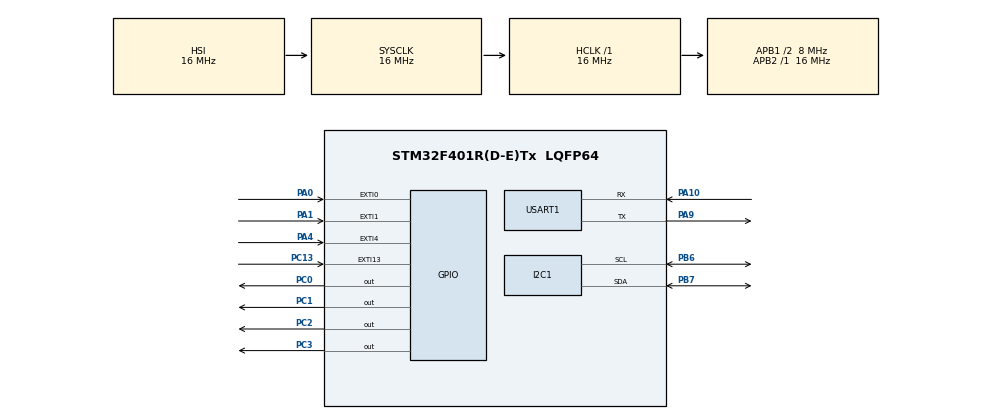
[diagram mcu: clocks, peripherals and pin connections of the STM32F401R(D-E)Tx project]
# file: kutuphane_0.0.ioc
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I2C1.I2C_Mode=I2C_Fast
Mcu.Family=STM32F4
Mcu.Name=STM32F401R(D-E)Tx
Mcu.Package=LQFP64
NVIC.EXTI0_IRQn=true\:0\:0\:false\:false\:true\:true\:true\:true
NVIC.EXTI1_IRQn=true\:0\:0\:false\:false\:true\:true\:true\:true
NVIC.EXTI4_IRQn=true\:0\:0\:false\:false\:true\:true\:true\:true
NVIC.PriorityGroup=NVIC_PRIORITYGROUP_4
PA0-WKUP.Signal=GPXTI0
PA1.Signal=GPXTI1
PA10.Mode=Asynchronous
PA10.Signal=USART1_RX
PA13.Mode=Serial_Wire
PA13.Signal=SYS_JTMS-SWDIO
PA14.Mode=Serial_Wire
PA14.Signal=SYS_JTCK-SWCLK
PA4.Signal=GPXTI4
PA9.Mode=Asynchronous
PA9.Signal=USART1_TX
PB6.Mode=I2C
PB6.Signal=I2C1_SCL
PB7.Mode=I2C
PB7.Signal=I2C1_SDA
PC0.Signal=GPIO_Output
PC1.Signal=GPIO_Output
PC13-ANTI_TAMP.Signal=GPXTI13
PC14-OSC32_IN.Mode=LSE-External-Clock-Source
PC14-OSC32_IN.Signal=RCC_OSC32_IN
PC15-OSC32_OUT.Mode=LSE-External-Clock-Source
PC15-OSC32_OUT.Signal=RCC_OSC32_OUT
PC2.Signal=GPIO_Output
PC3.Signal=GPIO_Output
PH0\ -\ OSC_IN.Mode=HSE-External-Oscillator
PH0\ -\ OSC_IN.Signal=RCC_OSC_IN
PH1\ -\ OSC_OUT.Mode=HSE-External-Oscillator
PH1\ -\ OSC_OUT.Signal=RCC_OSC_OUT
ProjectManager.HeapSize=0x200
ProjectManager.StackSize=0x400
ProjectManager.TargetToolchain=MDK-ARM V5.32
RCC.48MHZClocksFreq_Value=26880000
RCC.AHBFreq_Value=16000000
RCC.APB1CLKDivider=RCC_HCLK_DIV2
RCC.APB1Freq_Value=8000000
RCC.APB1TimFreq_Value=16000000
RCC.APB2Freq_Value=16000000
RCC.APB2TimFreq_Value=16000000
RCC.CortexFreq_Value=16000000
RCC.HCLKFreq_Value=16000000
RCC.HSE_VALUE=25000000
RCC.HSI_VALUE=16000000
RCC.LSE_VALUE=32768
RCC.PLLM=25
RCC.PLLN=168
RCC.SYSCLKFreq_VALUE=16000000
RCC.VCOOutputFreq_Value=107520000
USART1.VirtualMode=VM_ASYNC
VP_RTC_VS_RTC_Activate.Mode=RTC_Enabled
VP_TIM2_VS_ClockSourceINT.Mode=Internal
board=custom

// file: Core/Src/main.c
/* USER CODE BEGIN Header */
/**
  ******************************************************************************
  * @file           : main.c
  * @brief          : Main program body
  ******************************************************************************
  * @attention
  *
  * Copyright (c) 2025 STMicroelectronics.
  * All rights reserved.
  *
  * This software is licensed under terms that can be found in the LICENSE file
  * in the root directory of this software component.
  * If no LICENSE file comes with this software, it is provided AS-IS.
  *
  ******************************************************************************
  */
/* USER CODE END Header */
#include "main.h"

/* USER CODE BEGIN Includes */
#include "SSD1306.h"
#include "fonts.h"
#include "ds3231_for_stm32_hal.h"
#include "KeyPad.h"
#include <string.h>
#include <stdio.h>
/* USER CODE END Includes */

I2C_HandleTypeDef hi2c1;

RTC_HandleTypeDef hrtc;

TIM_HandleTypeDef htim2;

UART_HandleTypeDef huart1;

/* USER CODE BEGIN PV */

// �grenci struct'i
typedef struct {
    char id[8];
    char name[16];
    uint8_t inside;
    DS3231_Time_t entry_time;
} Student;

// �grenci listesi (�rnek)
Student students[] = {
    {"1001", "Ali",    0, {0}},
    {"1002", "Ayse",   0, {0}},
    {"1003", "Zeynep", 0, {0}},
};
uint8_t num_students = sizeof(students) / sizeof(students[0]);

// Keypad buffer
char num_buffer[8] = {0};

// LCD'ye ve UART'a yazmak i�in buffer
char text_buffer[32];

// DS3231 zaman yapisi
DS3231_Time_t rtc_time;

// Keypad tusunu tutacak degisken
char key;
uint8_t key_index = 0;
uint8_t keypad_active = 0;

/* USER CODE END PV */

void SystemClock_Config(void);
static void MX_GPIO_Init(void);
static void MX_I2C1_Init(void);
static void MX_TIM2_Init(void);
static void MX_USART1_UART_Init(void);
static void MX_RTC_Init(void);
/* USER CODE BEGIN PFP */
int find_student_index(const char* id);
int calc_duration(DS3231_Time_t start, DS3231_Time_t stop);
void UART_Log(char* str);
uint8_t DS3231_GetTime(I2C_HandleTypeDef *hi2c, DS3231_Time_t *time);
/* USER CODE END PFP */

int main(void)
{

  /* MCU Configuration--------------------------------------------------------*/

  /* Reset of all peripherals, Initializes the Flash interface and the Systick. */
  HAL_Init();

  /* Configure the system clock */
  SystemClock_Config();

  /* Initialize all configured peripherals */
  MX_GPIO_Init();
  MX_I2C1_Init();
  MX_TIM2_Init();
  MX_USART1_UART_Init();
  MX_RTC_Init();
  /* USER CODE BEGIN 2 */

  // SSD1306 OLED ekrani baslat
  SSD1306_Init();

  // DS3231 baslat (I2C1 ile)
  DS3231_Init(&hi2c1);

  // Keypad baslat (kendi k�t�phanende gerekmeyebilir, varsa ekle)
  KeyPad_Init();

  // Hosgeldiniz mesaji
  SSD1306_Fill(SSD1306_COLOR_BLACK);
  SSD1306_GotoXY(0, 0);
  SSD1306_Puts("Kutuphaneye Giris", &Font_7x10, 1);
  SSD1306_GotoXY(0, 20);
  SSD1306_Puts("Numara Giriniz:",&Font_7x10, 1);
  SSD1306_UpdateScreen();

  // UART i�in ilk mesaj
  sprintf(text_buffer, "Sistem Basladi\r\n");
  HAL_UART_Transmit(&huart1, (uint8_t*)text_buffer, strlen(text_buffer), 100);
  /* USER CODE END 2 */

  /* Infinite loop */
  /* USER CODE BEGIN WHILE */
  while (1)
  {
		key = KeyPad_WaitForKeyGetChar(HAL_MAX_DELAY);
		if (key != 0 && key_index < 4) {
			num_buffer[key_index++] = key;

			// Boşluklu gösterim için buffer oluştur
			char spaced_buffer[9] = {0};
			int j = 0;
			for (int i = 0; i < key_index; ++i) {
				spaced_buffer[j++] = num_buffer[i];
				if (i < key_index - 1) spaced_buffer[j++] = ' ';
			}

			SSD1306_GotoXY(0, 40);
			SSD1306_Puts("        ", &Font_11x18, 1);
			SSD1306_GotoXY(0, 40);
			SSD1306_Puts(spaced_buffer, &Font_11x18, 1);
			SSD1306_UpdateScreen();
		}

    if (key_index == 4) {
      num_buffer[4] = '\0';
      int idx = find_student_index(num_buffer);

      if (idx >= 0) {
        // �grenci bulundu, RTC'den saati al
        DS3231_GetTime(&hi2c1, &rtc_time);
				// ——————————————————————————————
				// Düzeltme: 1 saat 3 dakika geri al
				//————————————————————————————————————
				int h = rtc_time.hours;
				int m = rtc_time.minutes;

				// 3 dk geri
				m -= 50;
				if (m < 0) {
						m += 60;
						h -= 1;
				}

				// 1 saat geri
				h -= 7;
				if (h < 0) {
						h += 24;
				}

				// Düzeltmeyi yapılandırıp rtc_time’a geri yaz (isteğe bağlı)
				rtc_time.hours   = (uint8_t)h;
				rtc_time.minutes = (uint8_t)m;
				//———————————————————————————————

				// Ekrana düzeltmiş zamanı yaz
				sprintf(text_buffer, "%s %02d:%02d", students[idx].name, rtc_time.hours, rtc_time.minutes);

        if (students[idx].inside == 0) {
          // Giris islemi
          students[idx].inside = 1;
          students[idx].entry_time = rtc_time;
          SSD1306_Fill(SSD1306_COLOR_BLACK);
          SSD1306_GotoXY(0, 0);
          SSD1306_Puts("GIRIS OK!", &Font_7x10, 1);
          SSD1306_GotoXY(0, 20);
          sprintf(text_buffer, "%s %02d:%02d", students[idx].name, rtc_time.hours, rtc_time.minutes);
          SSD1306_Puts(text_buffer, &Font_7x10, 1);
          SSD1306_UpdateScreen();
          // UART log
          sprintf(text_buffer, "Giris: %s %s %02d:%02d\r\n", students[idx].id, students[idx].name, rtc_time.hours, rtc_time.minutes);
          UART_Log(text_buffer);
        } else {
          // çikis islemi
          students[idx].inside = 0;
          int duration = calc_duration(students[idx].entry_time, rtc_time);
          SSD1306_Fill(SSD1306_COLOR_BLACK);
          SSD1306_GotoXY(0, 0);
          SSD1306_Puts("CIKIS OK!", &Font_11x18, 1);
          SSD1306_GotoXY(0, 20);
          sprintf(text_buffer, "%s %02d dk", students[idx].name, duration);
          SSD1306_Puts(text_buffer, &Font_11x18, 1);
          SSD1306_UpdateScreen();
          // UART log
          sprintf(text_buffer, "Cikis: %s %s, Sure: %d dk\r\n", students[idx].id, students[idx].name, duration);
          UART_Log(text_buffer);
        }
      } else {
        // �grenci yok
        SSD1306_Fill(SSD1306_COLOR_BLACK);
        SSD1306_GotoXY(0, 0);
        SSD1306_Puts("KAYIT YOK!", &Font_11x18, 1);
        SSD1306_UpdateScreen();
        sprintf(text_buffer, "Kullanici bulunamadi: %s\r\n", num_buffer);
        UART_Log(text_buffer);
      }

      key_index = 0;
      memset(num_buffer, 0, sizeof(num_buffer));
      HAL_Delay(2000); // Sonucu ekranda g�ster
      // Ana ekrani geri y�kle
      SSD1306_Fill(SSD1306_COLOR_BLACK);
      SSD1306_GotoXY(0, 0);
      SSD1306_Puts("Kutuphaneye Giris", &Font_7x10, 1);
      SSD1306_GotoXY(0, 20);
      SSD1306_Puts("Numara Giriniz:", &Font_7x10, 1);
      SSD1306_UpdateScreen();
    }
    HAL_Delay(10);
  }

    /* USER CODE END WHILE */

  }

void SystemClock_Config(void)
{
  RCC_OscInitTypeDef RCC_OscInitStruct = {0};
  RCC_ClkInitTypeDef RCC_ClkInitStruct = {0};

  /** Configure the main internal regulator output voltage
  */
  __HAL_RCC_PWR_CLK_ENABLE();
  __HAL_PWR_VOLTAGESCALING_CONFIG(PWR_REGULATOR_VOLTAGE_SCALE2);

  /** Initializes the RCC Oscillators according to the specified parameters
  * in the RCC_OscInitTypeDef structure.
  */
  RCC_OscInitStruct.OscillatorType = RCC_OSCILLATORTYPE_HSI|RCC_OSCILLATORTYPE_LSI;
  RCC_OscInitStruct.HSIState = RCC_HSI_ON;
  RCC_OscInitStruct.HSICalibrationValue = RCC_HSICALIBRATION_DEFAULT;
  RCC_OscInitStruct.LSIState = RCC_LSI_ON;
  RCC_OscInitStruct.PLL.PLLState = RCC_PLL_NONE;
  if (HAL_RCC_OscConfig(&RCC_OscInitStruct) != HAL_OK)
  {
    Error_Handler();
  }

  /** Initializes the CPU, AHB and APB buses clocks
  */
  RCC_ClkInitStruct.ClockType = RCC_CLOCKTYPE_HCLK|RCC_CLOCKTYPE_SYSCLK
                              |RCC_CLOCKTYPE_PCLK1|RCC_CLOCKTYPE_PCLK2;
  RCC_ClkInitStruct.SYSCLKSource = RCC_SYSCLKSOURCE_HSI;
  RCC_ClkInitStruct.AHBCLKDivider = RCC_SYSCLK_DIV1;
  RCC_ClkInitStruct.APB1CLKDivider = RCC_HCLK_DIV2;
  RCC_ClkInitStruct.APB2CLKDivider = RCC_HCLK_DIV1;

  if (HAL_RCC_ClockConfig(&RCC_ClkInitStruct, FLASH_LATENCY_0) != HAL_OK)
  {
    Error_Handler();
  }
}

static void MX_I2C1_Init(void)
{

  hi2c1.Instance = I2C1;
  hi2c1.Init.ClockSpeed = 400000;
  hi2c1.Init.DutyCycle = I2C_DUTYCYCLE_2;
  hi2c1.Init.OwnAddress1 = 0;
  hi2c1.Init.AddressingMode = I2C_ADDRESSINGMODE_7BIT;
  hi2c1.Init.DualAddressMode = I2C_DUALADDRESS_DISABLE;
  hi2c1.Init.OwnAddress2 = 0;
  hi2c1.Init.GeneralCallMode = I2C_GENERALCALL_DISABLE;
  hi2c1.Init.NoStretchMode = I2C_NOSTRETCH_DISABLE;
  if (HAL_I2C_Init(&hi2c1) != HAL_OK)
  {
    Error_Handler();
  }

}

static void MX_RTC_Init(void)
{

  /** Initialize RTC Only
  */
  hrtc.Instance = RTC;
  hrtc.Init.HourFormat = RTC_HOURFORMAT_24;
  hrtc.Init.AsynchPrediv = 127;
  hrtc.Init.SynchPrediv = 255;
  hrtc.Init.OutPut = RTC_OUTPUT_DISABLE;
  hrtc.Init.OutPutPolarity = RTC_OUTPUT_POLARITY_HIGH;
  hrtc.Init.OutPutType = RTC_OUTPUT_TYPE_OPENDRAIN;
  if (HAL_RTC_Init(&hrtc) != HAL_OK)
  {
    Error_Handler();
  }

}

static void MX_TIM2_Init(void)
{

  TIM_ClockConfigTypeDef sClockSourceConfig = {0};
  TIM_MasterConfigTypeDef sMasterConfig = {0};

  htim2.Instance = TIM2;
  htim2.Init.Prescaler = 0;
  htim2.Init.CounterMode = TIM_COUNTERMODE_UP;
  htim2.Init.Period = 4294967295;
  htim2.Init.ClockDivision = TIM_CLOCKDIVISION_DIV1;
  htim2.Init.AutoReloadPreload = TIM_AUTORELOAD_PRELOAD_DISABLE;
  if (HAL_TIM_Base_Init(&htim2) != HAL_OK)
  {
    Error_Handler();
  }
  sClockSourceConfig.ClockSource = TIM_CLOCKSOURCE_INTERNAL;
  if (HAL_TIM_ConfigClockSource(&htim2, &sClockSourceConfig) != HAL_OK)
  {
    Error_Handler();
  }
  sMasterConfig.MasterOutputTrigger = TIM_TRGO_RESET;
  sMasterConfig.MasterSlaveMode = TIM_MASTERSLAVEMODE_DISABLE;
  if (HAL_TIMEx_MasterConfigSynchronization(&htim2, &sMasterConfig) != HAL_OK)
  {
    Error_Handler();
  }

}

static void MX_USART1_UART_Init(void)
{

  huart1.Instance = USART1;
  huart1.Init.BaudRate = 115200;
  huart1.Init.WordLength = UART_WORDLENGTH_8B;
  huart1.Init.StopBits = UART_STOPBITS_1;
  huart1.Init.Parity = UART_PARITY_NONE;
  huart1.Init.Mode = UART_MODE_TX_RX;
  huart1.Init.HwFlowCtl = UART_HWCONTROL_NONE;
  huart1.Init.OverSampling = UART_OVERSAMPLING_16;
  if (HAL_UART_Init(&huart1) != HAL_OK)
  {
    Error_Handler();
  }

}

static void MX_GPIO_Init(void)
{
  GPIO_InitTypeDef GPIO_InitStruct = {0};

  /* GPIO Ports Clock Enable */
  __HAL_RCC_GPIOC_CLK_ENABLE();
  __HAL_RCC_GPIOH_CLK_ENABLE();
  __HAL_RCC_GPIOA_CLK_ENABLE();
  __HAL_RCC_GPIOB_CLK_ENABLE();

  /*Configure GPIO pin Output Level */
  HAL_GPIO_WritePin(GPIOC, GPIO_PIN_0|GPIO_PIN_1|GPIO_PIN_2|GPIO_PIN_3, GPIO_PIN_RESET);

  /*Configure GPIO pin : PC13 */
  GPIO_InitStruct.Pin = GPIO_PIN_13;
  GPIO_InitStruct.Mode = GPIO_MODE_IT_RISING;
  GPIO_InitStruct.Pull = GPIO_NOPULL;
  HAL_GPIO_Init(GPIOC, &GPIO_InitStruct);

  /*Configure GPIO pins : PC0 PC1 PC2 PC3 */
  GPIO_InitStruct.Pin = GPIO_PIN_0|GPIO_PIN_1|GPIO_PIN_2|GPIO_PIN_3;
  GPIO_InitStruct.Mode = GPIO_MODE_OUTPUT_PP;
  GPIO_InitStruct.Pull = GPIO_NOPULL;
  GPIO_InitStruct.Speed = GPIO_SPEED_FREQ_LOW;
  HAL_GPIO_Init(GPIOC, &GPIO_InitStruct);

  /*Configure GPIO pins : PA0 PA1 PA4 */
  GPIO_InitStruct.Pin = GPIO_PIN_0|GPIO_PIN_1|GPIO_PIN_4;
  GPIO_InitStruct.Mode = GPIO_MODE_IT_RISING;
  GPIO_InitStruct.Pull = GPIO_NOPULL;
  HAL_GPIO_Init(GPIOA, &GPIO_InitStruct);

  /* EXTI interrupt init*/
  HAL_NVIC_SetPriority(EXTI0_IRQn, 0, 0);
  HAL_NVIC_EnableIRQ(EXTI0_IRQn);

  HAL_NVIC_SetPriority(EXTI1_IRQn, 0, 0);
  HAL_NVIC_EnableIRQ(EXTI1_IRQn);

  HAL_NVIC_SetPriority(EXTI4_IRQn, 0, 0);
  HAL_NVIC_EnableIRQ(EXTI4_IRQn);

}

/* USER CODE BEGIN 4 */

// �grenci arama
int find_student_index(const char* id) {
    for (int i = 0; i < num_students; ++i) {
        if (strcmp(students[i].id, id) == 0) {
            return i;
        }
    }
    return -1; // Bulunamadi
}

// S�re hesaplama (saat/dakika olarak)
int calc_duration(DS3231_Time_t start, DS3231_Time_t stop) {
    int start_min = start.hours * 60 + start.minutes;
    int stop_min = stop.hours * 60 + stop.minutes;
    int diff = stop_min - start_min;
    if (diff < 0) diff += 24 * 60; // Gece yarisi ge�mis olabilir
    return diff;
}

// UART ile string g�nderme
void UART_Log(char* str) {
    HAL_UART_Transmit(&huart1, (uint8_t*)str, strlen(str), 100);
}

/* USER CODE END 4 */

void Error_Handler(void)
{
  __disable_irq();
  while (1)
  {
  }
}
